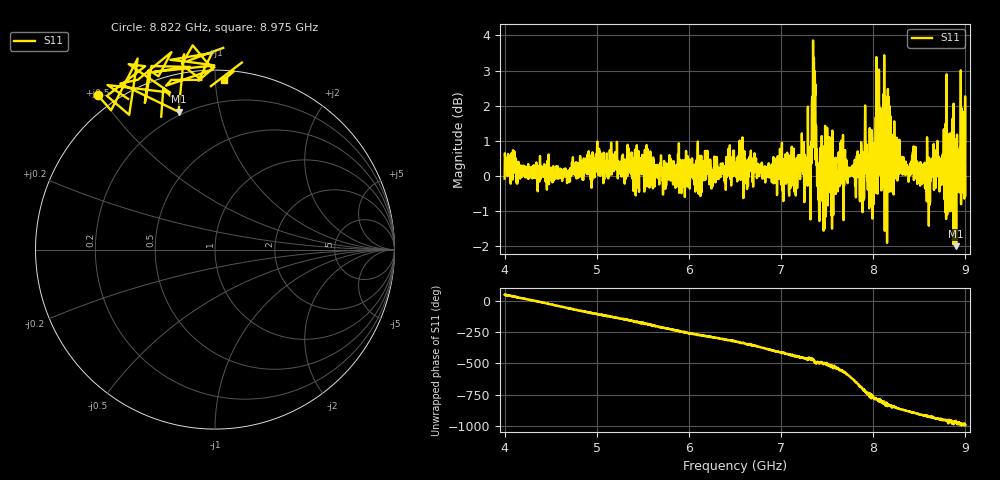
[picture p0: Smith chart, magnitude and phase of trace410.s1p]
! Created with skrf 1.8.0 (http://scikit-rf.org).
# Hz S RI R 50.0
!freq ReS11 ImS11
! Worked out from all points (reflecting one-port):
!   1601 points, 4 GHz to 9 GHz, reference 50 ohm
!   lowest |S11| = -2.0 dB at 8.9 GHz (marker M1), VSWR 8.71, Z = 9.07 + j37.7 ohm
!   phase of S11 starts at 51 deg and turns -1047 deg over the sweep
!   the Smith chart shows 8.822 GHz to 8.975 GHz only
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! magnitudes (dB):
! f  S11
! 4 GHz  -0.1
! 4.625 GHz  -0.1
! 5.016 GHz  0.7
! 5.25 GHz  0.1
! 5.875 GHz  0.1
! 6.5 GHz  0.3
! 7.125 GHz  0.5
! 7.3 GHz  0.8
! 7.356 GHz  3.4
! 7.372 GHz  2.6
! 7.4 GHz  0.4
! 7.428 GHz  0.1
! 7.509 GHz  0.4
! 7.591 GHz  0.5
! 7.647 GHz  0.9
! 7.75 GHz  0.1
! 7.878 GHz  0.3
! 7.928 GHz  0.9
! 7.981 GHz  0.2
! 8.05 GHz  1.4
! 8.066 GHz  0.7
! 8.097 GHz  1.0
! 8.197 GHz  0.3
! 8.375 GHz  0.1
! 8.819 GHz  0.4
! 8.9 GHz  -2.0
! 8.972 GHz  0.0
! 9 GHz  -0.6
